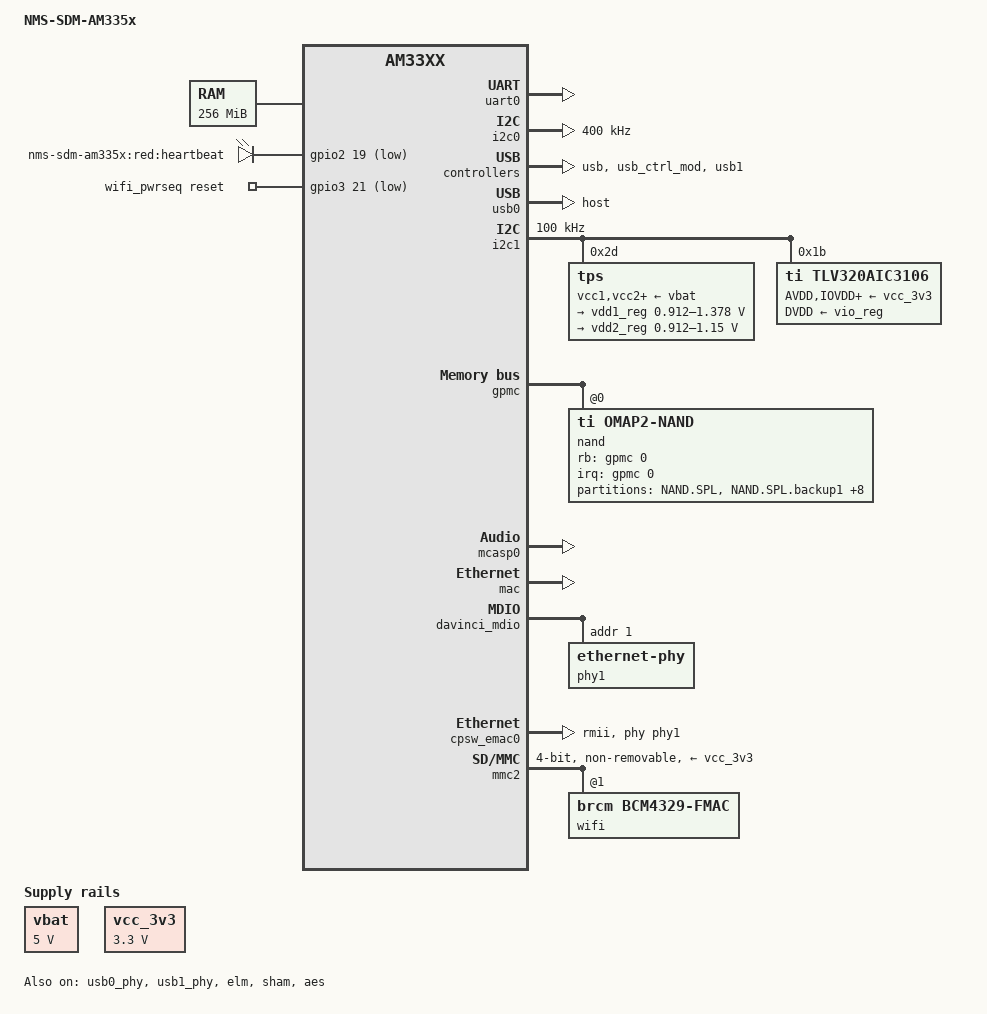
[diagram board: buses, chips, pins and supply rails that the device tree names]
// SPDX-License-Identifier: GPL-2.0-only
/*
 * NMS-SDM-AM335x module; carrier peripherals are described by the board DTS.
 */

#include "am33xx.dtsi"
#include <dt-bindings/interrupt-controller/irq.h>

/ {
	model = "NMS-SDM-AM335x";
	compatible = "inmys,nms-sdm-am335x", "ti,am33xx";

	cpus {
		cpu@0 {
			cpu0-supply = <&vdd1_reg>;
		};
	};

	memory@80000000 {
		device_type = "memory";
		reg = <0x80000000 0x10000000>; /* 256 MB */
	};

	chosen {
		stdout-path = "serial0:115200n8";
	};

	leds {
		compatible = "gpio-leds";
		pinctrl-names = "default";
		pinctrl-0 = <&leds_pins>;

		led-d1 {
			label = "nms-sdm-am335x:red:heartbeat";
			gpios = <&gpio2 19 GPIO_ACTIVE_LOW>;
			linux,default-trigger = "heartbeat";
			default-state = "off";
		};
	};

	vbat: fixedregulator0 {
		compatible = "regulator-fixed";
		regulator-name = "vbat";
		regulator-min-microvolt = <5000000>;
		regulator-max-microvolt = <5000000>;
		regulator-boot-on;
	};

	vcc_3v3: fixedregulator2 {
		compatible = "regulator-fixed";
		regulator-name = "vcc_3v3";
		regulator-min-microvolt = <3300000>;
		regulator-max-microvolt = <3300000>;
		regulator-always-on;
		regulator-boot-on;
	};

	sound {
		compatible = "simple-audio-card";
		simple-audio-card,name = "NMS-SDM-AM335x";
		simple-audio-card,widgets =
			"Headphone", "Headphone Jack",
			"Line", "Line In",
			"Line", "Line In 2",
			"Line", "Line Out";
		simple-audio-card,routing =
			"Headphone Jack",	"HPLOUT",
			"Headphone Jack",	"HPROUT",
			"LINE1L",		"Line In",
			"LINE1R",		"Line In",
			"LINE2L",		"Line In 2",
			"LINE2R",		"Line In 2",
			"Line Out",		"LLOUT",
			"Line Out",		"RLOUT";
		simple-audio-card,format = "dsp_b";
		simple-audio-card,bitclock-master = <&sound_master>;
		simple-audio-card,frame-master = <&sound_master>;
		simple-audio-card,bitclock-inversion;

		simple-audio-card,cpu {
			sound-dai = <&mcasp0>;
		};

		sound_master: simple-audio-card,codec {
			sound-dai = <&tlv320aic3106>;
			system-clock-frequency = <24000000>;
		};
	};

	wifi_pwrseq: wifi-pwrseq {
		compatible = "mmc-pwrseq-simple";
		/* M1.12 WL_REG_ON, via R71, U1.A14 / GPIO3_21. */
		reset-gpios = <&gpio3 21 GPIO_ACTIVE_LOW>;
		post-power-on-delay-ms = <200>;
	};
};

&am33xx_pinmux {
	pinctrl-names = "default";
	pinctrl-0 = <&clkout1_pin>;

	leds_pins: pinmux_leds_pins {
		pinctrl-single,pins = <
			AM33XX_PADCONF(AM335X_PIN_MII1_RXD2, PIN_OUTPUT_PULLUP, MUX_MODE7)	/* D1, gpio2_19 */
		>;
	};

	i2c0_pins: pinmux_i2c0_pins {
		pinctrl-single,pins = <
			AM33XX_PADCONF(AM335X_PIN_I2C0_SDA, PIN_INPUT_PULLUP, MUX_MODE0)	/* i2c0_sda.i2c0_sda */
			AM33XX_PADCONF(AM335X_PIN_I2C0_SCL, PIN_INPUT_PULLUP, MUX_MODE0)	/* i2c0_scl.i2c0_scl */
		>;
	};

	i2c1_pins: pinmux_i2c1_pins {
		pinctrl-single,pins = <
			AM33XX_PADCONF(AM335X_PIN_SPI0_D1, PIN_INPUT_PULLUP, MUX_MODE2)	/* spi0_d1.i2c1_sda */
			AM33XX_PADCONF(AM335X_PIN_SPI0_CS0, PIN_INPUT_PULLUP, MUX_MODE2)	/* spi0_cs0.i2c1_scl */
		>;
	};

	uart0_pins: pinmux_uart0_pins {
		pinctrl-single,pins = <
			AM33XX_PADCONF(AM335X_PIN_UART0_RXD, PIN_INPUT_PULLUP, MUX_MODE0)	/* uart0_rxd.uart0_rxd */
			AM33XX_PADCONF(AM335X_PIN_UART0_TXD, PIN_OUTPUT_PULLDOWN, MUX_MODE0)	/* uart0_txd.uart0_txd */
		>;
	};

	uart1_pins_default: pinmux_uart1_pins_default {
		pinctrl-single,pins = <
			AM33XX_PADCONF(AM335X_PIN_UART1_CTSN, PIN_INPUT, MUX_MODE0)	/* uart1_ctsn.uart1_ctsn */
			AM33XX_PADCONF(AM335X_PIN_UART1_RTSN, PIN_OUTPUT_PULLDOWN, MUX_MODE0)	/* uart1_rtsn.uart1_rtsn */
			AM33XX_PADCONF(AM335X_PIN_UART1_RXD, PIN_INPUT_PULLUP, MUX_MODE0)	/* uart1_rxd.uart1_rxd */
			AM33XX_PADCONF(AM335X_PIN_UART1_TXD, PIN_OUTPUT, MUX_MODE0)	/* uart1_txd.uart1_txd */
		>;
	};

	uart1_pins_sleep: pinmux_uart1_pins_sleep {
		pinctrl-single,pins = <
			AM33XX_PADCONF(AM335X_PIN_UART1_CTSN, PIN_INPUT_PULLDOWN, MUX_MODE7)
			AM33XX_PADCONF(AM335X_PIN_UART1_RTSN, PIN_INPUT_PULLDOWN, MUX_MODE7)
			AM33XX_PADCONF(AM335X_PIN_UART1_RXD, PIN_INPUT_PULLDOWN, MUX_MODE7)
			AM33XX_PADCONF(AM335X_PIN_UART1_TXD, PIN_INPUT_PULLDOWN, MUX_MODE7)
		>;
	};

	clkout1_pin: pinmux_clkout1_pin {
		pinctrl-single,pins = <
			AM33XX_PADCONF(AM335X_PIN_XDMA_EVENT_INTR0, PIN_OUTPUT_PULLDOWN, MUX_MODE3)	/* xdma_event_intr0.clkout1 */
		>;
	};

	nand_pins_default: nand_pins_default {
		pinctrl-single,pins = <
			AM33XX_PADCONF(AM335X_PIN_GPMC_AD0, PIN_INPUT_PULLUP, MUX_MODE0)	/* gpmc_ad0.gpmc_ad0 */
			AM33XX_PADCONF(AM335X_PIN_GPMC_AD1, PIN_INPUT_PULLUP, MUX_MODE0)	/* gpmc_ad1.gpmc_ad1 */
			AM33XX_PADCONF(AM335X_PIN_GPMC_AD2, PIN_INPUT_PULLUP, MUX_MODE0)	/* gpmc_ad2.gpmc_ad2 */
			AM33XX_PADCONF(AM335X_PIN_GPMC_AD3, PIN_INPUT_PULLUP, MUX_MODE0)	/* gpmc_ad3.gpmc_ad3 */
			AM33XX_PADCONF(AM335X_PIN_GPMC_AD4, PIN_INPUT_PULLUP, MUX_MODE0)	/* gpmc_ad4.gpmc_ad4 */
			AM33XX_PADCONF(AM335X_PIN_GPMC_AD5, PIN_INPUT_PULLUP, MUX_MODE0)	/* gpmc_ad5.gpmc_ad5 */
			AM33XX_PADCONF(AM335X_PIN_GPMC_AD6, PIN_INPUT_PULLUP, MUX_MODE0)	/* gpmc_ad6.gpmc_ad6 */
			AM33XX_PADCONF(AM335X_PIN_GPMC_AD7, PIN_INPUT_PULLUP, MUX_MODE0)	/* gpmc_ad7.gpmc_ad7 */
			AM33XX_PADCONF(AM335X_PIN_GPMC_WAIT0, PIN_INPUT_PULLUP, MUX_MODE0)	/* gpmc_wait0.gpmc_wait0 */
			AM33XX_PADCONF(AM335X_PIN_GPMC_WPN, PIN_INPUT_PULLUP, MUX_MODE7)	/* gpmc_wpn.gpio0_30 */
			AM33XX_PADCONF(AM335X_PIN_GPMC_CSN0, PIN_OUTPUT, MUX_MODE0)	/* gpmc_csn0.gpmc_csn0  */
			AM33XX_PADCONF(AM335X_PIN_GPMC_ADVN_ALE, PIN_OUTPUT, MUX_MODE0)	/* gpmc_advn_ale.gpmc_advn_ale */
			AM33XX_PADCONF(AM335X_PIN_GPMC_OEN_REN, PIN_OUTPUT, MUX_MODE0)	/* gpmc_oen_ren.gpmc_oen_ren */
			AM33XX_PADCONF(AM335X_PIN_GPMC_WEN, PIN_OUTPUT, MUX_MODE0)	/* gpmc_wen.gpmc_wen */
			AM33XX_PADCONF(AM335X_PIN_GPMC_BEN0_CLE, PIN_OUTPUT, MUX_MODE0)	/* gpmc_ben0_cle.gpmc_ben0_cle */
		>;
	};

	nand_pins_sleep: nand_pins_sleep {
		pinctrl-single,pins = <
			AM33XX_PADCONF(AM335X_PIN_GPMC_AD0, PIN_INPUT_PULLDOWN, MUX_MODE7)
			AM33XX_PADCONF(AM335X_PIN_GPMC_AD1, PIN_INPUT_PULLDOWN, MUX_MODE7)
			AM33XX_PADCONF(AM335X_PIN_GPMC_AD2, PIN_INPUT_PULLDOWN, MUX_MODE7)
			AM33XX_PADCONF(AM335X_PIN_GPMC_AD3, PIN_INPUT_PULLDOWN, MUX_MODE7)
			AM33XX_PADCONF(AM335X_PIN_GPMC_AD4, PIN_INPUT_PULLDOWN, MUX_MODE7)
			AM33XX_PADCONF(AM335X_PIN_GPMC_AD5, PIN_INPUT_PULLDOWN, MUX_MODE7)
			AM33XX_PADCONF(AM335X_PIN_GPMC_AD6, PIN_INPUT_PULLDOWN, MUX_MODE7)
			AM33XX_PADCONF(AM335X_PIN_GPMC_AD7, PIN_INPUT_PULLDOWN, MUX_MODE7)
			AM33XX_PADCONF(AM335X_PIN_GPMC_WAIT0, PIN_INPUT_PULLDOWN, MUX_MODE7)
			AM33XX_PADCONF(AM335X_PIN_GPMC_WPN, PIN_INPUT_PULLDOWN, MUX_MODE7)
			AM33XX_PADCONF(AM335X_PIN_GPMC_CSN0, PIN_INPUT_PULLDOWN, MUX_MODE7)
			AM33XX_PADCONF(AM335X_PIN_GPMC_ADVN_ALE, PIN_INPUT_PULLDOWN, MUX_MODE7)
			AM33XX_PADCONF(AM335X_PIN_GPMC_OEN_REN, PIN_INPUT_PULLDOWN, MUX_MODE7)
			AM33XX_PADCONF(AM335X_PIN_GPMC_WEN, PIN_INPUT_PULLDOWN, MUX_MODE7)
			AM33XX_PADCONF(AM335X_PIN_GPMC_BEN0_CLE, PIN_INPUT_PULLDOWN, MUX_MODE7)
		>;
	};

	cpsw_default: cpsw_default {
		pinctrl-single,pins = <
			/* Slave 1 */
			AM33XX_PADCONF(AM335X_PIN_MII1_CRS, PIN_INPUT_PULLDOWN, MUX_MODE1)	/* mii1_crs.rmii1_crs_dv */
			AM33XX_PADCONF(AM335X_PIN_MII1_RX_ER, PIN_INPUT_PULLDOWN, MUX_MODE1)	/* mii1_rxerr.rmii1_rxerr */
			AM33XX_PADCONF(AM335X_PIN_MII1_TX_EN, PIN_OUTPUT, MUX_MODE1)	/* mii1_txen.rmii1_txen */
			AM33XX_PADCONF(AM335X_PIN_MII1_TXD1, PIN_OUTPUT, MUX_MODE1)	/* mii1_txd1.rmii1_txd1 */
			AM33XX_PADCONF(AM335X_PIN_MII1_TXD0, PIN_OUTPUT, MUX_MODE1)	/* mii1_txd0.rmii1_txd0 */
			AM33XX_PADCONF(AM335X_PIN_MII1_RXD1, PIN_INPUT_PULLDOWN, MUX_MODE1)	/* mii1_rxd1.rmii1_rxd1 */
			AM33XX_PADCONF(AM335X_PIN_MII1_RXD0, PIN_INPUT_PULLDOWN, MUX_MODE1)	/* mii1_rxd0.rmii1_rxd0 */
			AM33XX_PADCONF(AM335X_PIN_RMII1_REF_CLK, PIN_INPUT_PULLDOWN, MUX_MODE0)	/* rmii1_refclk.rmii1_refclk */
		>;
	};

	cpsw_sleep: cpsw_sleep {
		pinctrl-single,pins = <
			/* Slave 1 reset value */
			AM33XX_PADCONF(AM335X_PIN_MII1_CRS, PIN_INPUT_PULLDOWN, MUX_MODE7)
			AM33XX_PADCONF(AM335X_PIN_MII1_RX_ER, PIN_INPUT_PULLDOWN, MUX_MODE7)
			AM33XX_PADCONF(AM335X_PIN_MII1_TX_EN, PIN_INPUT_PULLDOWN, MUX_MODE7)
			AM33XX_PADCONF(AM335X_PIN_MII1_TXD1, PIN_INPUT_PULLDOWN, MUX_MODE7)
			AM33XX_PADCONF(AM335X_PIN_MII1_TXD0, PIN_INPUT_PULLDOWN, MUX_MODE7)
			AM33XX_PADCONF(AM335X_PIN_MII1_RXD1, PIN_INPUT_PULLDOWN, MUX_MODE7)
			AM33XX_PADCONF(AM335X_PIN_MII1_RXD0, PIN_INPUT_PULLDOWN, MUX_MODE7)
			AM33XX_PADCONF(AM335X_PIN_RMII1_REF_CLK, PIN_INPUT_PULLDOWN, MUX_MODE7)
		>;
	};

	davinci_mdio_default: davinci_mdio_default {
		pinctrl-single,pins = <
			/* MDIO */
			AM33XX_PADCONF(AM335X_PIN_MDIO, PIN_INPUT_PULLUP | SLEWCTRL_FAST, MUX_MODE0)	/* mdio_data.mdio_data */
			AM33XX_PADCONF(AM335X_PIN_MDC, PIN_OUTPUT_PULLUP, MUX_MODE0)	/* mdio_clk.mdio_clk */
		>;
	};

	davinci_mdio_sleep: davinci_mdio_sleep {
		pinctrl-single,pins = <
			/* MDIO reset value */
			AM33XX_PADCONF(AM335X_PIN_MDIO, PIN_INPUT_PULLDOWN, MUX_MODE7)
			AM33XX_PADCONF(AM335X_PIN_MDC, PIN_INPUT_PULLDOWN, MUX_MODE7)
		>;
	};

	mcasp0_pins: mcasp0_pins {
		pinctrl-single,pins = <
			AM33XX_PADCONF(AM335X_PIN_MCASP0_ACLKX, PIN_INPUT_PULLDOWN, MUX_MODE0)	/* mcasp0_aclkx.mcasp0_aclkx */
			AM33XX_PADCONF(AM335X_PIN_MCASP0_FSX, PIN_INPUT_PULLDOWN, MUX_MODE0)	/* mcasp0_fsx.mcasp0_fsx */
			AM33XX_PADCONF(AM335X_PIN_MCASP0_ACLKR, PIN_INPUT_PULLDOWN, MUX_MODE2)	/* mcasp0_aclkr.mcasp0_axr2 */
			AM33XX_PADCONF(AM335X_PIN_MCASP0_FSR, PIN_INPUT_PULLDOWN, MUX_MODE2)	/* mcasp0_fsr.mcasp0_axr3 */
		>;
	};

	mcasp0_sleep_pins: mcasp0_sleep_pins {
		pinctrl-single,pins = <
			AM33XX_PADCONF(AM335X_PIN_MCASP0_ACLKX, PIN_INPUT_PULLDOWN, MUX_MODE7)
			AM33XX_PADCONF(AM335X_PIN_MCASP0_FSX, PIN_INPUT_PULLDOWN, MUX_MODE7)
			AM33XX_PADCONF(AM335X_PIN_MCASP0_ACLKR, PIN_INPUT_PULLDOWN, MUX_MODE7)
			AM33XX_PADCONF(AM335X_PIN_MCASP0_FSR, PIN_INPUT_PULLDOWN, MUX_MODE7)
		>;
	};

	dcan0_default: dcan0_default_pins {
		pinctrl-single,pins = <
			AM33XX_PADCONF(AM335X_PIN_MII1_TXD3, PIN_OUTPUT_PULLDOWN, MUX_MODE1)	/* mii1_txd3.dcan0_tx */
			AM33XX_PADCONF(AM335X_PIN_MII1_TXD2, PIN_INPUT_PULLUP, MUX_MODE1)	/* mii1_txd2.dcan0_rx */
		>;
	};

	wifi_pins: pinmux_wifi_pins {
		pinctrl-single,pins = <
			AM33XX_PADCONF(AM335X_PIN_GPMC_AD8, PIN_INPUT_PULLUP, MUX_MODE2)	/* GPMC_AD8, SDIO D0 */
			AM33XX_PADCONF(AM335X_PIN_GPMC_AD9, PIN_INPUT_PULLUP, MUX_MODE2)	/* GPMC_AD9, SDIO D1 */
			AM33XX_PADCONF(AM335X_PIN_GPMC_AD10, PIN_INPUT_PULLUP, MUX_MODE2)	/* GPMC_AD10, SDIO D2 */
			AM33XX_PADCONF(AM335X_PIN_GPMC_AD11, PIN_INPUT_PULLUP, MUX_MODE2)	/* GPMC_AD11, SDIO D3 */
			AM33XX_PADCONF(AM335X_PIN_GPMC_CSN1, PIN_INPUT_PULLUP, MUX_MODE2)	/* GPMC_CSN1, SDIO CLK */
			AM33XX_PADCONF(AM335X_PIN_GPMC_CSN2, PIN_INPUT_PULLUP, MUX_MODE2)	/* GPMC_CSN2, SDIO CMD */
			AM33XX_PADCONF(AM335X_PIN_MCASP0_AHCLKX, PIN_OUTPUT_PULLDOWN, MUX_MODE7)	/* WL_REG_ON */
		>;
	};
};

&uart0 {
	pinctrl-names = "default";
	pinctrl-0 = <&uart0_pins>;

	status = "okay";
};

&i2c0 {
	pinctrl-names = "default";
	pinctrl-0 = <&i2c0_pins>;

	status = "okay";
	clock-frequency = <400000>;
	/* Set OPP50 (0.95V) for VDD core */
	sleep-sequence = /bits/ 8 <
		0x02 0x2d 0x25 0x1f /* Set VDD2 to 0.95V */
	>;

	/* Set OPP100 (1.10V) for VDD core */
	wake-sequence = /bits/ 8 <
		0x02 0x2d 0x25 0x2b /* Set VDD2 to 1.1V */
	>;
};

&usb {
	status = "okay";
};

&usb_ctrl_mod {
	status = "okay";
};

&usb0_phy {
	status = "okay";
};

&usb1_phy {
	status = "okay";
};

&usb0 {
	status = "okay";
	dr_mode = "host";
};

&usb1 {
	status = "okay";
};

&cppi41dma {
	status = "okay";
};

&i2c1 {
	pinctrl-names = "default";
	pinctrl-0 = <&i2c1_pins>;

	status = "okay";
	clock-frequency = <100000>;

	tps: tps@2d {
		reg = <0x2d>;
	};

	tlv320aic3106: tlv320aic3106@1b {
		#sound-dai-cells = <0>;
		compatible = "ti,tlv320aic3106";
		reg = <0x1b>;
		status = "okay";

		/* U9: VDDA via L5 from VCC_3V3; DVDD via FB4 from VCC_1V8. */
		AVDD-supply = <&vcc_3v3>;
		IOVDD-supply = <&vcc_3v3>;
		DRVDD-supply = <&vcc_3v3>;
		DVDD-supply = <&vio_reg>;
	};
};

&elm {
	status = "okay";
};

&gpmc {
	status = "okay";
	pinctrl-names = "default", "sleep";
	pinctrl-0 = <&nand_pins_default>;
	pinctrl-1 = <&nand_pins_sleep>;
	ranges = <0 0 0x08000000 0x10000000>;

	nand@0,0 {
		compatible = "ti,omap2-nand";
		reg = <0 0 4>; /* CS0, offset 0, IO size 4 */
		interrupt-parent = <&gpmc>;
		interrupts = <0 IRQ_TYPE_NONE>, /* fifoevent */
			     <1 IRQ_TYPE_NONE>;	/* termcount */
		rb-gpios = <&gpmc 0 GPIO_ACTIVE_HIGH>; /* gpmc_wait0 */
		ti,nand-ecc-opt = "bch8";
		ti,elm-id = <&elm>;
		nand-bus-width = <8>;
		gpmc,device-width = <1>;
		gpmc,sync-clk-ps = <0>;
		gpmc,cs-on-ns = <0>;
		gpmc,cs-rd-off-ns = <44>;
		gpmc,cs-wr-off-ns = <44>;
		gpmc,adv-on-ns = <6>;
		gpmc,adv-rd-off-ns = <34>;
		gpmc,adv-wr-off-ns = <44>;
		gpmc,we-on-ns = <0>;
		gpmc,we-off-ns = <40>;
		gpmc,oe-on-ns = <0>;
		gpmc,oe-off-ns = <54>;
		gpmc,access-ns = <64>;
		gpmc,rd-cycle-ns = <82>;
		gpmc,wr-cycle-ns = <82>;
		gpmc,wait-on-read = "true";
		gpmc,wait-on-write = "true";
		gpmc,bus-turnaround-ns = <0>;
		gpmc,cycle2cycle-delay-ns = <0>;
		gpmc,clk-activation-ns = <0>;
		gpmc,wait-monitoring-ns = <0>;
		gpmc,wr-access-ns = <40>;
		gpmc,wr-data-mux-bus-ns = <0>;

		#address-cells = <1>;
		#size-cells = <1>;

		/* Each ROM SPL copy occupies one NAND eraseblock. */
		partition@0 {
			label = "NAND.SPL";
			reg = <0x00000000 0x00020000>;
		};

		partition@20000 {
			label = "NAND.SPL.backup1";
			reg = <0x00020000 0x00020000>;
		};

		partition@40000 {
			label = "NAND.SPL.backup2";
			reg = <0x00040000 0x00020000>;
		};

		partition@60000 {
			label = "NAND.SPL.backup3";
			reg = <0x00060000 0x00020000>;
		};

		partition@80000 {
			label = "NAND.u-boot-spl-os";
			reg = <0x00080000 0x00040000>;
		};

		partition@c0000 {
			label = "NAND.u-boot";
			reg = <0x000c0000 0x00100000>;
		};

		partition@1c0000 {
			label = "NAND.u-boot-env";
			reg = <0x001c0000 0x00020000>;
		};

		partition@1e0000 {
			label = "NAND.u-boot-env.backup1";
			reg = <0x001e0000 0x00020000>;
		};

		partition@200000 {
			label = "NAND.kernel";
			reg = <0x00200000 0x00800000>;
		};

		partition@a00000 {
			label = "NAND.ubi";
			reg = <0x00a00000 0x1f600000>;
		};
	};
};

#include "tps65910.dtsi"

&mcasp0 {
	#sound-dai-cells = <0>;
	pinctrl-names = "default", "sleep";
	pinctrl-0 = <&mcasp0_pins>;
	pinctrl-1 = <&mcasp0_sleep_pins>;

	status = "okay";
	op-mode = <0>;          /* MCASP_IIS_MODE */
	tdm-slots = <2>;
	/* AXR2 receives codec DOUT; AXR3 transmits codec DIN. */
	serial-dir = <0 0 2 1>;
	tx-num-evt = <32>;
	rx-num-evt = <32>;
};

&tps {
	ti,en-ck32k-xtal;
	vcc1-supply = <&vbat>;
	vcc2-supply = <&vbat>;
	vcc3-supply = <&vbat>;
	vcc4-supply = <&vbat>;
	vcc5-supply = <&vbat>;
	vcc6-supply = <&vbat>;
	vcc7-supply = <&vbat>;
	vccio-supply = <&vbat>;

	rtc0 {
		compatible = "ti,tps65910-rtc";
		interrupts = <0>;
	};

	regulators {
		vrtc_reg: regulator@0 {
			regulator-always-on;
		};

		vio_reg: regulator@1 {
			regulator-always-on;
		};

		vdd1_reg: regulator@2 {
			/* VDD_MPU voltage limits 0.95V - 1.325V with +/-4% tolerance */
			regulator-name = "vdd_mpu";
			regulator-min-microvolt = <912500>;
			regulator-max-microvolt = <1378000>;
			regulator-boot-on;
			regulator-always-on;
		};

		vdd2_reg: regulator@3 {
			/* VDD_CORE voltage limits 0.95V - 1.1V with +/-4% tolerance */
			regulator-name = "vdd_core";
			regulator-min-microvolt = <912500>;
			regulator-max-microvolt = <1150000>;
			regulator-boot-on;
			regulator-always-on;
		};

		vdd3_reg: regulator@4 {
			regulator-always-on;
		};

		vdig1_reg: regulator@5 {
			regulator-always-on;
		};

		vdig2_reg: regulator@6 {
			regulator-always-on;
		};

		vpll_reg: regulator@7 {
			regulator-always-on;
		};

		vdac_reg: regulator@8 {
			regulator-always-on;
		};

		vaux1_reg: regulator@9 {
			regulator-always-on;
		};

		vaux2_reg: regulator@10 {
			regulator-always-on;
		};

		vaux33_reg: regulator@11 {
			regulator-always-on;
		};
	};
};

&mac {
	pinctrl-names = "default", "sleep";
	pinctrl-0 = <&cpsw_default>;
	pinctrl-1 = <&cpsw_sleep>;
	/* Only the on-module RMII PHY is enabled by default. */
	status = "okay";
};

&davinci_mdio {
	pinctrl-names = "default", "sleep";
	pinctrl-0 = <&davinci_mdio_default>;
	pinctrl-1 = <&davinci_mdio_sleep>;
	status = "okay";

	phy1: ethernet-phy@1 {
		reg = <1>;
	};
};

&cpsw_emac0 {
	phy-handle = <&phy1>;
	phy-mode = "rmii";
	dual_emac_res_vlan = <1>;
};

&phy_gmii_sel {
	rmii-clock-ext;
};

&wkup_m3_ipc {
	ti,scale-data-fw = "am335x-evm-scale-data.bin";
};

&sham {
	status = "okay";
};

&aes {
	status = "okay";
};

&gpio0 {
	ti,no-reset-on-init;
};

&uart1 {
	status = "disabled";
};

&uart2 {
	status = "disabled";
};

&uart3 {
	status = "disabled";
};

&uart4 {
	status = "disabled";
};

&uart5 {
	status = "disabled";
};

&cpsw_emac1 {
	status = "disabled";
};

/* SoC MMC1 is named mmc2 in am33xx.dtsi. M1 is AP6212 / BCM43430. */
&mmc2 {
	status = "okay";
	pinctrl-names = "default";
	pinctrl-0 = <&wifi_pins>;
	vmmc-supply = <&vcc_3v3>;
	vqmmc-supply = <&vcc_3v3>;
	mmc-pwrseq = <&wifi_pwrseq>;
	bus-width = <4>;
	non-removable;
	no-1-8-v;
	keep-power-in-suspend;
	ti,needs-special-hs-handling;
	max-frequency = <12500000>;
	#address-cells = <1>;
	#size-cells = <0>;

	wifi@1 {
		compatible = "brcm,bcm4329-fmac";
		reg = <1>;
		/* M1.13 WL_HOST_WAKE is unconnected on v8: use in-band SDIO. */
	};
};
